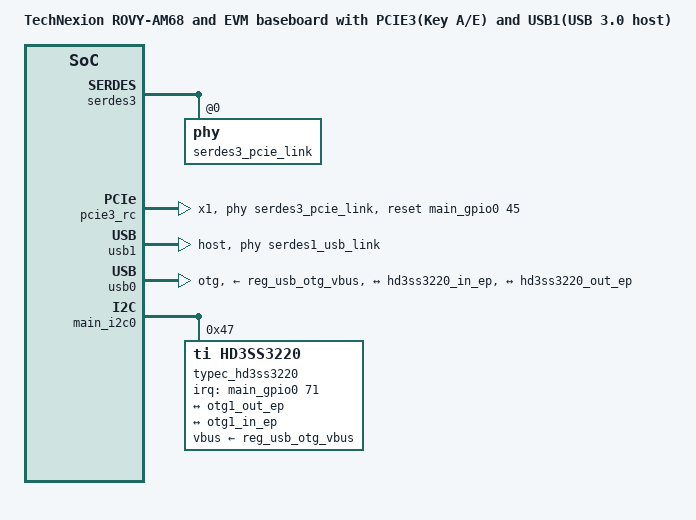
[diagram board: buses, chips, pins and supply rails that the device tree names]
// SPDX-License-Identifier: GPL-2.0
/*
 * Copyright 2022 Technexion Ltd.
 *
 * Author: Richard Hu <richard.hu@technexion.com>
 *
 */

/dts-v1/;
/plugin/;

#include <dt-bindings/gpio/gpio.h>
#include <dt-bindings/interrupt-controller/irq.h>
#include <dt-bindings/pinctrl/k3.h>
#include <dt-bindings/mux/ti-serdes.h>
#include <dt-bindings/phy/phy.h>

/ {
	fragment@101 {
		target-path = "/";

		__overlay__ {
			model = "TechNexion ROVY-AM68 and EVM baseboard with PCIE3(Key A/E) and USB1(USB 3.0 host)";
		};
	};
};

&serdes_ln_ctrl {
	idle-states = <J721E_SERDES0_LANE0_PCIE0_LANE0>, <J721E_SERDES0_LANE1_PCIE0_LANE1>,
		/* SERDES1 - LANE0: disable, LANE1: enable USB */
		/* SERDES1 LANE0 can't be disabled, just can be configured as PCIE */
		<J721E_SERDES1_LANE0_PCIE1_LANE0>, <J721E_SERDES1_LANE1_USB3_1>,
		<J721E_SERDES2_LANE0_PCIE2_LANE0>, <J721E_SERDES2_LANE1_PCIE2_LANE1>,
		/* SERDES1 - LANE0: enable PCIE, LANE1: disable */
		<J721E_SERDES3_LANE0_PCIE3_LANE0>, <J721E_SERDES3_LANE1_IP4_UNUSED>,
		<J721E_SERDES4_LANE0_QSGMII_LANE5>, <J721E_SERDES4_LANE1_QSGMII_LANE6>,
		<J721E_SERDES4_LANE2_QSGMII_LANE7>, <J721E_SERDES4_LANE3_QSGMII_LANE8>;
};

&serdes3 {
	#address-cells = <1>;
	#size-cells = <0>;

	serdes3_pcie_link: phy@0 {
		reg = <0>;
		cdns,num-lanes = <1>;
		#phy-cells = <0>;
		cdns,phy-type = <PHY_TYPE_PCIE>;
		resets = <&serdes_wiz3 1>;
		status = "okay";
	};

	serdes3_usb_link: phy@1 {
		status = "disabled";
	};
};

&pcie3_rc {
	pinctrl-names = "default";
	pinctrl-0 = <&main_pcie_keye_rst_pins_default>;
	reset-gpios = <&main_gpio0 45 GPIO_ACTIVE_HIGH>;
	#phy-cells = <0>;
	phys = <&serdes3_pcie_link>;
	phy-names = "pcie-phy";
	num-lanes = <1>;
	status="okay";
};

&usb1 {
	dr_mode = "host";
	maximum-speed = "super-speed";
	phys = <&serdes1_usb_link>;
	phy-names = "cdns3,usb3-phy";
};

&usbss0 {
	ti,vbus-divider;
	ti,usb2-only;
};

&usb0 {
	dr_mode = "otg";
	maximum-speed = "high-speed";
	power-active-low;
	vbus-supply = <&reg_usb_otg_vbus>;

	ports {
		#address-cells = <1>;
		#size-cells = <0>;

		port@0 {
			reg = <0>;
			otg1_out_ep: endpoint {
				remote-endpoint = <&hd3ss3220_in_ep>;
			};
		};

		port@1 {
			reg = <1>;
			otg1_in_ep: endpoint {
				remote-endpoint = <&hd3ss3220_out_ep>;
			};
		};
	};
};

&main_i2c0 { /* I2C_A */
	#address-cells = <1>;
	#size-cells = <0>;

	typec_hd3ss3220: hd3ss3220@47 {
		compatible = "ti,hd3ss3220";
		interrupt-parent = <&main_gpio0>;
		interrupts = <71 IRQ_TYPE_LEVEL_LOW>;
		pinctrl-names = "default";
		pinctrl-0 = <&typec_hd3ss3220_irq_pins_default>;
		vbus-supply = <&reg_usb_otg_vbus>;
		reg = <0x47>;

		ports {
			#address-cells = <1>;
			#size-cells = <0>;

			port@0 {
				reg = <0>;
				hd3ss3220_in_ep: endpoint {
					remote-endpoint = <&otg1_out_ep>;
				};
			};

			port@1 {
				reg = <1>;
				hd3ss3220_out_ep: endpoint {
					remote-endpoint = <&otg1_in_ep>;
				};
			};
		};
	};
};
